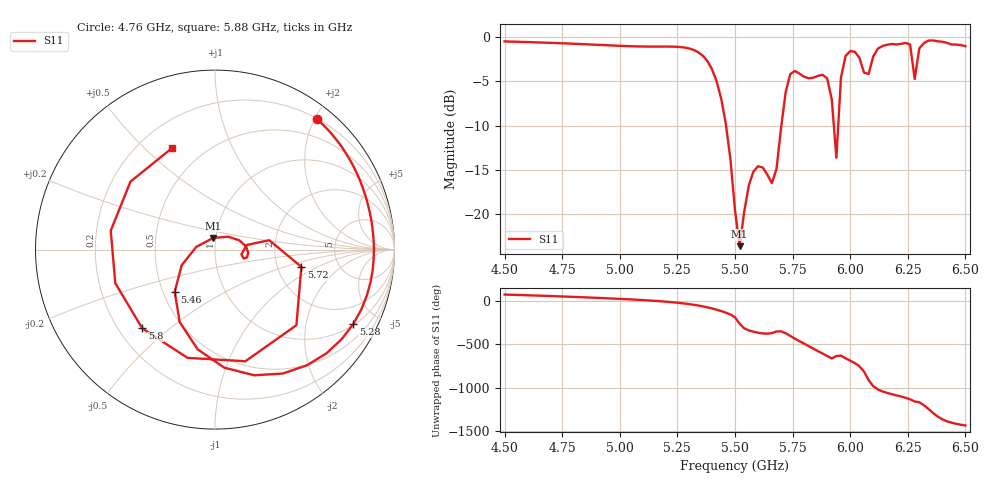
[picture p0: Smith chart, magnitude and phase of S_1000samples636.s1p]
! TOUCHSTONE file generated by CST MICROWAVE STUDIO
! Date and time: Fri Oct 28 20:50:32 2022
! Project name: L.cst
! Parameters = {Di=1.27; Epsilon_r=1.56; InnerDiameter=1.27; Length=2; Lf=10; Lg=60; OuterConductorThickness=0.2921; OuterDiameter=3.6; Wf=3; Wp=41.2; de=1.5; df=6.8; g=0.8; gx=3.69383; gy=1.78768; h=2.34; hf=1.524; px=8.12608; py=14.6832; w=9.7; wx=4.43225; wy=12.8955}
! Header version: 2018
! Port assignment regex: !\s*Touchstone port\s*([0-9]+)\s*=\s*(CST MWS port|CST DS port)\s*([0-9]+|Zmin|Zmax)\s*\(\"(.*)\"\)(\s*mode\s*([0-9]+))?.*
! Touchstone port assignment:
! Touchstone port 1 = CST MWS port 1 ("")
# GHz S DB R 50
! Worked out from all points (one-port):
!   101 points, 4.5 GHz to 6.5 GHz, reference 50 ohm
!   lowest |S11| = -23.6 dB at 5.52 GHz (marker M1), VSWR 1.14, Z = 48.6 + j6.34 ohm
!   |S11| at or under -10 dB: 5.461 GHz to 5.701 GHz (240.2 MHz wide, 4.3 % of centre); 5.928989 GHz to 5.948004 GHz (19.02 MHz wide, 0.32 % of centre)
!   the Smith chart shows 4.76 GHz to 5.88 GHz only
!   S11 on the Smith chart (normalised r, x): 4.76 GHz: 0.21, +2.04; 5.28 GHz: 1.04, -3.68; 5.46 GHz: 0.58, -0.30; 5.72 GHz: 2.73, -0.69; 5.8 GHz: 0.30, -0.40; 5.88 GHz: 0.34, +0.61
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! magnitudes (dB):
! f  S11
! 4.5 GHz  -0.5
! 4.76 GHz  -0.7
! 5 GHz  -1.0
! 5.26 GHz  -1.1
! 5.28 GHz  -1.2
! 5.4 GHz  -3.6
! 5.46 GHz  -9.8
! 5.5 GHz  -19.6
! 5.52 GHz  -23.6
! 5.56 GHz  -16.8
! 5.58 GHz  -15.2
! 5.66 GHz  -16.5
! 5.68 GHz  -14.9
! 5.72 GHz  -6.2
! 5.76 GHz  -3.8
! 5.8 GHz  -4.5
! 5.88 GHz  -4.2
! 5.92 GHz  -7.0
! 5.94 GHz  -13.6
! 5.96 GHz  -4.5
! 6 GHz  -1.6
! 6.08 GHz  -4.2
! 6.12 GHz  -1.3
! 6.26 GHz  -0.8
! 6.28 GHz  -4.7
! 6.3 GHz  -1.3
! 6.32 GHz  -0.7
! 6.5 GHz  -1.0
